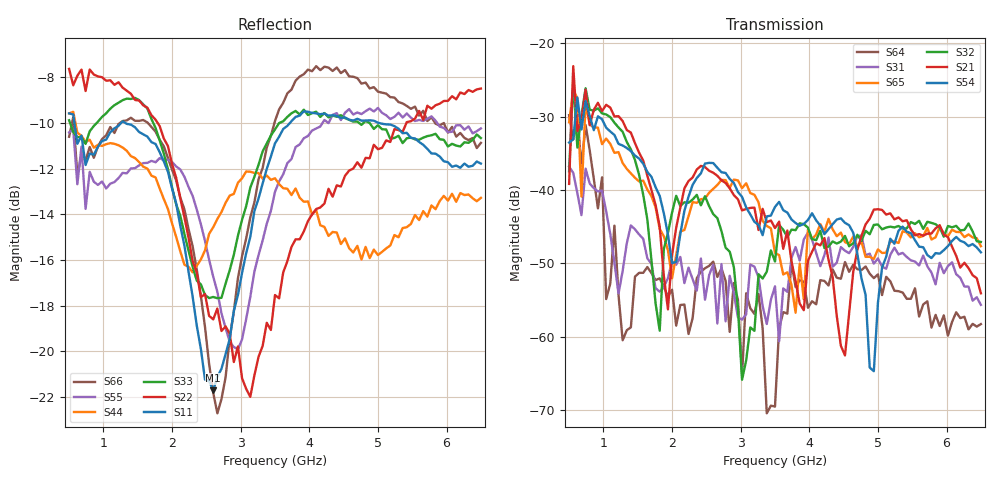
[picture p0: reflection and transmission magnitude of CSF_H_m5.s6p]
!Keysight Technologies,M9804A,MY58100912,A.14.10.03
!Date: Thursday, April 27, 2023 10:28:33
!Correction: S11(C  6-Port  )
!S12(C  6-Port  )
!S13(C  6-Port  )
!S14(C  6-Port  )
!S15(C  6-Port  )
!S16(C  6-Port  )
!S21(C  6-Port  )
!S22(C  6-Port  )
!S23(C  6-Port  )
!S24(C  6-Port  )
!S25(C  6-Port  )
!S26(C  6-Port  )
!S31(C  6-Port  )
!S32(C  6-Port  )
!S33(C  6-Port  )
!S34(C  6-Port  )
!S35(C  6-Port  )
!S36(C  6-Port  )
!S41(C  6-Port  )
!S42(C  6-Port  )
!S43(C  6-Port  )
!S44(C  6-Port  )
!S45(C  6-Port  )
!S46(C  6-Port  )
!S51(C  6-Port  )
!S52(C  6-Port  )
!S53(C  6-Port  )
!S54(C  6-Port  )
!S55(C  6-Port  )
!S56(C  6-Port  )
!S61(C  6-Port  )
!S62(C  6-Port  )
!S63(C  6-Port  )
!S64(C  6-Port  )
!S65(C  6-Port  )
!S66(C  6-Port  )
!S6P File: Measurement: :
# Hz S  RI  R 50
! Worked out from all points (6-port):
!   101 points, 500 MHz to 6.5 GHz, reference 50 ohm
!   strongest paths, dB at 500 MHz, 2 GHz, 3.5 GHz, 5 GHz, 6.5 GHz:
!     S54: -33.5, -50.0, -42.3, -55.4, -48.5
!     S21: -39.2, -48.9, -45.2, -42.6, -54.1
!     S32: -37.4, -43.1, -49.7, -44.7, -47.1
!     S65: -30.8, -52.0, -48.6, -48.1, -47.7
!     S31: -36.8, -49.7, -53.1, -49.3, -55.7
!     S64: -29.8, -53.6, -69.5, -51.5, -58.3
!   lowest |S11| = -21.7 dB at 2.6 GHz (marker M1), VSWR 1.18, Z = 42.7 + j2.03 ohm
!   |S11| at or under -10 dB: 577.5 MHz to 1.258 GHz (680 MHz wide, 74.1 % of centre); 1.32 GHz to 3.716 GHz (2.397 GHz wide, 95.2 % of centre); 5.019 GHz to end of sweep
